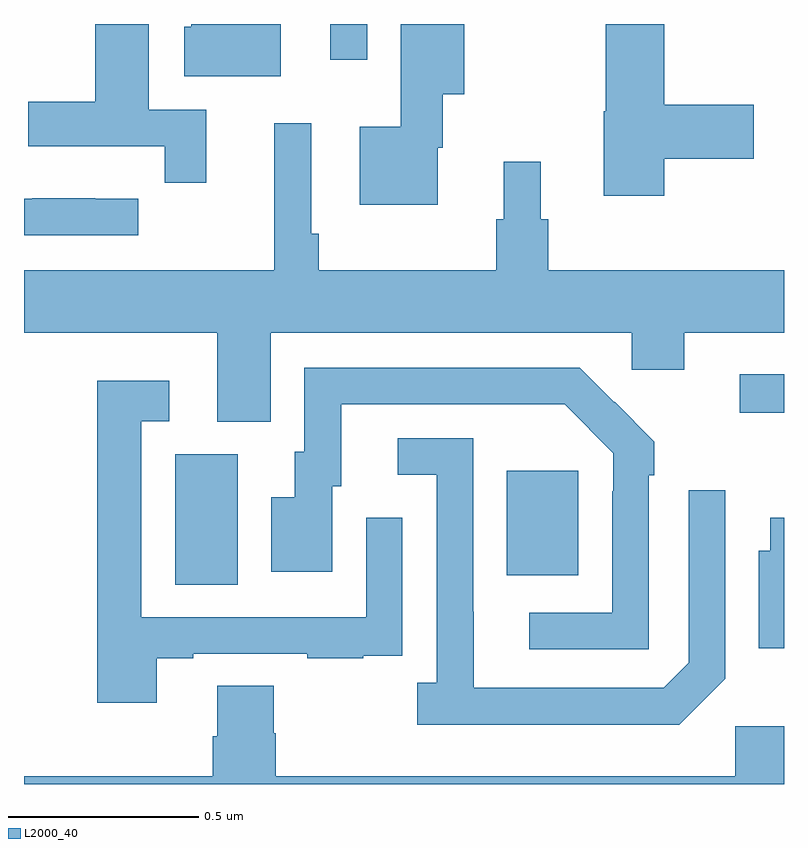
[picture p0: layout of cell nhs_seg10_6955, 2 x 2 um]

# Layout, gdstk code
import gdstk
lib = gdstk.Library(unit=1e-6, precision=1e-09)
def R(c, l, rs):  # rectangles x0, y0, x1, y1
    for r in rs: c.add(gdstk.rectangle(r[:2], r[2:], *l))
def P(c, l, *ps):  # polygons
    for p in ps: c.add(gdstk.Polygon(p, *l))
L2000_40 = (2000, 40)

nhs_seg10_6955 = lib.new_cell('nhs_seg10_6955')
R(nhs_seg10_6955, L2000_40, [(198.398,1261.024,198.562,1261.368), (199.271,1261.049,199.459,1261.324), (199.884,1261.477,200,1261.578), (198.806,1262.406,198.903,1262.5)])
P(nhs_seg10_6955, L2000_40, [(199.089,1262.174),(199.102,1262.174),(199.102,1262.315),(199.158,1262.315),(199.158,1262.5),(198.991,1262.5),(198.991,1262.23),(198.884,1262.23),(198.884,1262.024),(199.089,1262.024)],
  [(198.676,1262.5),(198.44,1262.5),(198.44,1262.493),(198.422,1262.493),(198.422,1262.363),(198.676,1262.363)],
  [(199.685,1262.146),(199.921,1262.146),(199.921,1262.288),(199.685,1262.288),(199.685,1262.5),(199.531,1262.5),(199.531,1262.271),(199.525,1262.271),(199.525,1262.048),(199.685,1262.048)],
  [(198.479,1262.274),(198.328,1262.274),(198.328,1262.5),(198.188,1262.5),(198.188,1262.295),(198.011,1262.295),(198.011,1262.178),(198.37,1262.178),(198.37,1262.082),(198.479,1262.082)],
  [(198.649,1261.688),(199.599,1261.688),(199.599,1261.59),(199.738,1261.59),(199.738,1261.688),(200,1261.688),(200,1261.852),(199.379,1261.852),(199.379,1261.986),(199.36,1261.986),(199.36,1262.137),(199.262,1262.137),(199.262,1261.986),(199.243,1261.986),(199.243,1261.852),(198.776,1261.852),(198.776,1261.948),(198.756,1261.948),(198.756,1262.239),(198.659,1262.239),(198.659,1261.852),(198,1261.852),(198,1261.688),(198.509,1261.688),(198.509,1261.453),(198.649,1261.453)],
  [(198.301,1262.04),(198.188,1262.04),(198.188,1262.041),(198.022,1262.041),(198.022,1262.04),(198,1262.04),(198,1261.944),(198.301,1261.944)],
  [(199.644,1261.313),(199.659,1261.313),(199.659,1261.401),(199.554,1261.506),(199.553,1261.505),(199.462,1261.596),(198.738,1261.596),(198.738,1261.374),(198.713,1261.374),(198.713,1261.255),(198.65,1261.255),(198.65,1261.059),(198.811,1261.059),(198.811,1261.284),(198.835,1261.284),(198.835,1261.5),(199.423,1261.5),(199.551,1261.371),(199.551,1261.271),(199.548,1261.271),(199.548,1260.951),(199.329,1260.951),(199.329,1260.855),(199.644,1260.855)],
  [(198.349,1260.831),(198.445,1260.831),(198.445,1260.843),(198.745,1260.843),(198.745,1260.831),(198.893,1260.831),(198.893,1260.837),(198.995,1260.837),(198.995,1260.946),(198.996,1260.946),(198.996,1261.201),(198.9,1261.201),(198.9,1260.939),(198.309,1260.939),(198.309,1261.455),(198.382,1261.455),(198.382,1261.561),(198.193,1261.561),(198.193,1260.714),(198.349,1260.714)],
  [(199.845,1260.777),(199.845,1261.273),(199.749,1261.273),(199.749,1260.819),(199.683,1260.753),(199.183,1260.753),(199.183,1260.953),(199.182,1260.953),(199.182,1261.41),(198.984,1261.41),(198.984,1261.314),(199.086,1261.314),(199.086,1260.766),(199.035,1260.766),(199.035,1260.656),(199.724,1260.656)],
  [(200,1261.201),(199.964,1261.201),(199.964,1261.114),(199.934,1261.114),(199.934,1260.857),(200,1260.857)],
  [(200,1260.652),(199.872,1260.652),(199.872,1260.52),(198.662,1260.52),(198.662,1260.633),(198.657,1260.633),(198.657,1260.758),(198.509,1260.758),(198.509,1260.626),(198.497,1260.626),(198.497,1260.52),(198,1260.52),(198,1260.5),(200,1260.5)])

lib.write_gds('nhs_seg10_6955.gds')
